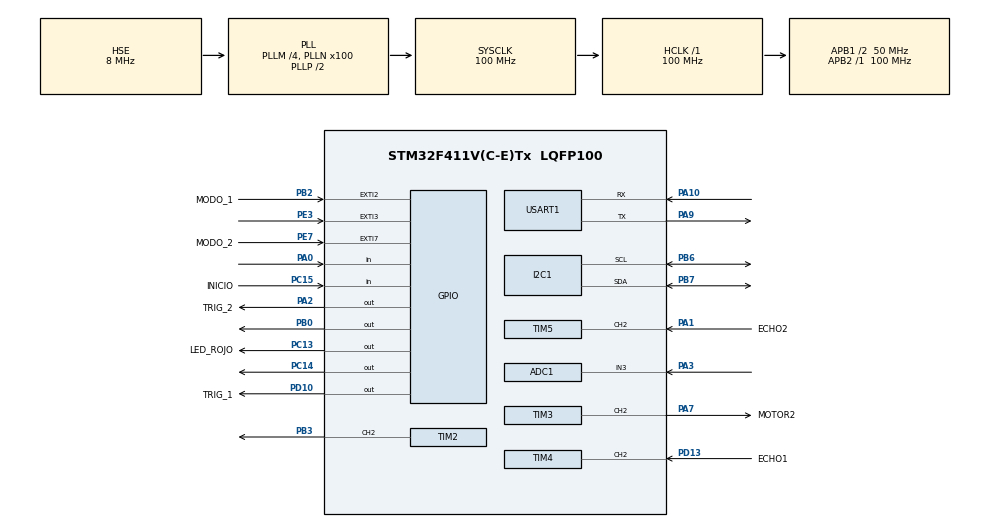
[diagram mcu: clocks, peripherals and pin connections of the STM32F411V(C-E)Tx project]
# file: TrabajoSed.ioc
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ADC1.Channel-2\#ChannelRegularConversion=ADC_CHANNEL_3
ADC1.ContinuousConvMode=ENABLE
ADC1.DMAContinuousRequests=ENABLE
ADC1.DiscontinuousConvMode=DISABLE
ADC1.NbrOfConversion=1
ADC1.NbrOfConversionFlag=1
ADC1.Rank-2\#ChannelRegularConversion=1
ADC1.SamplingTime-2\#ChannelRegularConversion=ADC_SAMPLETIME_3CYCLES
ADC1.master=1
Dma.ADC1.0.Direction=DMA_PERIPH_TO_MEMORY
Dma.ADC1.0.FIFOMode=DMA_FIFOMODE_DISABLE
Dma.ADC1.0.Instance=DMA2_Stream0
Dma.ADC1.0.MemDataAlignment=DMA_MDATAALIGN_WORD
Dma.ADC1.0.MemInc=DMA_MINC_ENABLE
Dma.ADC1.0.Mode=DMA_CIRCULAR
Dma.ADC1.0.PeriphDataAlignment=DMA_PDATAALIGN_WORD
Dma.ADC1.0.PeriphInc=DMA_PINC_DISABLE
Dma.ADC1.0.Priority=DMA_PRIORITY_LOW
Dma.Request0=ADC1
Mcu.Family=STM32F4
Mcu.Name=STM32F411V(C-E)Tx
Mcu.Package=LQFP100
NVIC.DMA2_Stream0_IRQn=true\:0\:0\:false\:false\:true\:false\:true\:true
NVIC.EXTI2_IRQn=true\:0\:0\:false\:false\:true\:true\:true\:true
NVIC.EXTI3_IRQn=true\:0\:0\:false\:false\:true\:true\:true\:true
NVIC.EXTI9_5_IRQn=true\:0\:0\:false\:false\:true\:true\:true\:true
NVIC.PriorityGroup=NVIC_PRIORITYGROUP_0
NVIC.TIM4_IRQn=true\:0\:0\:false\:false\:true\:true\:true\:true
NVIC.TIM5_IRQn=true\:0\:0\:false\:false\:true\:true\:true\:true
PA0-WKUP.GPIO_PuPd=GPIO_PULLUP
PA0-WKUP.Signal=GPIO_Input
PA1.GPIO_Label=ECHO2
PA1.Signal=S_TIM5_CH2
PA10.Mode=Asynchronous
PA10.Signal=USART1_RX
PA13.Mode=Serial_Wire
PA13.Signal=SYS_JTMS-SWDIO
PA14.Mode=Serial_Wire
PA14.Signal=SYS_JTCK-SWCLK
PA2.GPIO_Label=TRIG_2
PA2.Signal=GPIO_Output
PA3.Signal=ADCx_IN3
PA7.GPIO_Label=MOTOR2
PA7.Signal=S_TIM3_CH2
PA9.Mode=Asynchronous
PA9.Signal=USART1_TX
PB0.Signal=GPIO_Output
PB2.GPIO_Label=MODO_1
PB2.GPIO_PuPd=GPIO_PULLUP
PB2.Signal=GPXTI2
PB3.Signal=S_TIM2_CH2
PB6.Mode=I2C
PB6.Signal=I2C1_SCL
PB7.Mode=I2C
PB7.Signal=I2C1_SDA
PC13-ANTI_TAMP.GPIO_Label=LED_ROJO
PC13-ANTI_TAMP.Signal=GPIO_Output
PC14-OSC32_IN.Signal=GPIO_Output
PC15-OSC32_OUT.GPIO_Label=INICIO
PC15-OSC32_OUT.GPIO_PuPd=GPIO_PULLUP
PC15-OSC32_OUT.Signal=GPIO_Input
PD10.GPIO_Label=TRIG_1
PD10.Signal=GPIO_Output
PD13.GPIO_Label=ECHO1
PD13.Signal=S_TIM4_CH2
PE3.GPIO_ModeDefaultEXTI=GPIO_MODE_IT_RISING
PE3.GPIO_PuPd=GPIO_PULLUP
PE3.Signal=GPXTI3
PE7.GPIO_Label=MODO_2
PE7.GPIO_PuPd=GPIO_PULLUP
PE7.Signal=GPXTI7
PH0\ -\ OSC_IN.Mode=HSE-External-Oscillator
PH0\ -\ OSC_IN.Signal=RCC_OSC_IN
PH1\ -\ OSC_OUT.Mode=HSE-External-Oscillator
PH1\ -\ OSC_OUT.Signal=RCC_OSC_OUT
ProjectManager.HeapSize=0x200
ProjectManager.StackSize=0x400
ProjectManager.TargetToolchain=STM32CubeIDE
RCC.48MHZClocksFreq_Value=25000000
RCC.AHBFreq_Value=100000000
RCC.APB1CLKDivider=RCC_HCLK_DIV2
RCC.APB1Freq_Value=50000000
RCC.APB1TimFreq_Value=100000000
RCC.APB2Freq_Value=100000000
RCC.APB2TimFreq_Value=100000000
RCC.CortexFreq_Value=100000000
RCC.HCLKFreq_Value=100000000
RCC.HSE_VALUE=8000000
RCC.HSI_VALUE=16000000
RCC.LSE_VALUE=32768
RCC.PLLI2SM=5
RCC.PLLI2SN=200
RCC.PLLM=4
RCC.PLLN=100
RCC.PLLQ=8
RCC.PLLSourceVirtual=RCC_PLLSOURCE_HSE
RCC.SYSCLKFreq_VALUE=100000000
RCC.SYSCLKSource=RCC_SYSCLKSOURCE_PLLCLK
RCC.VCOOutputFreq_Value=200000000
SH.ADCx_IN3.0=ADC1_IN3,IN3
SH.S_TIM2_CH2.0=TIM2_CH2,PWM Generation2 CH2
SH.S_TIM3_CH2.0=TIM3_CH2,PWM Generation2 CH2
SH.S_TIM4_CH2.0=TIM4_CH2,Input_Capture2_from_TI2
SH.S_TIM5_CH2.0=TIM5_CH2,Input_Capture2_from_TI2
TIM2.Channel-PWM\ Generation2\ CH2=TIM_CHANNEL_2
TIM2.Period=10000-1
TIM2.Prescaler=100-1
TIM3.Channel-PWM\ Generation2\ CH2=TIM_CHANNEL_2
TIM3.Period=10000-1
TIM3.Prescaler=100-1
TIM4.Channel-Input_Capture2_from_TI2=TIM_CHANNEL_2
TIM4.ICFilter_CH2=4
TIM4.Prescaler=100-1
TIM5.Channel-Input_Capture2_from_TI2=TIM_CHANNEL_2
TIM5.ICFilter_CH2=4
TIM5.Period=65535
TIM5.Prescaler=100-1
USART1.VirtualMode=VM_ASYNC
VP_TIM2_VS_ClockSourceINT.Mode=Internal
VP_TIM3_VS_ClockSourceINT.Mode=Internal
VP_TIM4_VS_ClockSourceINT.Mode=Internal
VP_TIM5_VS_ClockSourceINT.Mode=Internal
board=STM32F411E-DISCO

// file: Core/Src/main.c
/* USER CODE BEGIN Header */
/**
  ******************************************************************************
  * @file           : main.c
  * @brief          : Main program body
  ******************************************************************************
  * @attention
  *
  * Copyright (c) 2025 STMicroelectronics.
  * All rights reserved.
  *
  * This software is licensed under terms that can be found in the LICENSE file
  * in the root directory of this software component.
  * If no LICENSE file comes with this software, it is provided AS-IS.
  *
  ******************************************************************************
  */
/* USER CODE END Header */
#include "main.h"

/* USER CODE BEGIN Includes */
typedef enum {
    WAITING_BUTTON,
	lavando,
    MOVING_MOTOR_2,
	EMERGENCY  // Nuevo estado
} SystemState;
/* USER CODE END PTD */
volatile SystemState currentState = WAITING_BUTTON;

#include "i2c-lcd.h"
#include "DHT.h"
/* USER CODE END Includes */

/* USER CODE BEGIN PD */
// Definiciones de pines
#define BUTTON_PIN GPIO_PIN_15
#define BUTTON_PORT GPIOC

#define EMERGENCY_BUTTON_PIN GPIO_PIN_3  // Botón de emergencia en PC15
#define EMERGENCY_PORT GPIOE             // Puerto del botón de emergencia

#define USER_BUTTON_PIN GPIO_PIN_0       // Botón de usuario (rearme) en PA0
#define USER_BUTTON_PORT GPIOA          // Puerto del botón de usuario

#define LED_RED_PIN GPIO_PIN_13
#define LED_GREEN_PIN GPIO_PIN_14
#define LED_PORT GPIOC

#define MOTOR1_PIN GPIO_PIN_3
#define MOTOR2_PIN GPIO_PIN_7
#define MOTOR1_PORT GPIOB
#define MOTOR2_PORT GPIOA

#define ECHO2_PIN GPIO_PIN_1
#define TRIG2_PIN GPIO_PIN_2
#define ECHO_PIN GPIO_PIN_13
#define TRIG_PIN GPIO_PIN_10
#define ULTRASONIC_PORT GPIOD
#define ULTRASONIC_PORT2 GPIOA

#define MODE_BUTTON_PIN GPIO_PIN_2      // Botón para seleccionar el modo
#define MODE_BUTTON_PORT GPIOB

#define MODE2_BUTTON_PIN GPIO_PIN_7     // Botón para seleccionar el modo
#define MODE2_BUTTON_PORT GPIOE

#define POTENTIOMETER_PIN GPIO_PIN_3    // Potenciómetro conectado al ADC1
#define POTENTIOMETER_PORT GPIOA

#define TEMP_MIN 40.0f
#define TEMP_MAX 60.0f
/* USER CODE END PD */

/* USER CODE BEGIN PM */
uint32_t previousTime = 0;
uint32_t interval = 500;  // Intervalo de parpadeo en milisegundos
volatile uint8_t emergencyFlag = 0;
volatile uint8_t selectedMode = 0;      // 1: Económico, 2: Ajuste de temperatura
float currentTemperature = 0.0f;       // Temperatura ajustada en modo 2
float selectedTemperature = 0.0;
int isTemperatureSet = 0;  // Bandera para indicar si la temperatura está fijad

int modo = 0;
/* USER CODE END PM */

ADC_HandleTypeDef hadc1;
DMA_HandleTypeDef hdma_adc1;

I2C_HandleTypeDef hi2c1;

TIM_HandleTypeDef htim2;
TIM_HandleTypeDef htim3;
TIM_HandleTypeDef htim4;
TIM_HandleTypeDef htim5;

UART_HandleTypeDef huart1;

/* USER CODE BEGIN PV */
DHT_DataTypedef DHT22_Data; //Estructura que guarda la temeperatura y la humedad
float Humidity; //Variable para guardar la humedad
float Temperature; //Variable para guardar la temperatura

/* USER CODE END PV */

void SystemClock_Config(void);
static void MX_GPIO_Init(void);
static void MX_DMA_Init(void);
static void MX_TIM2_Init(void);
static void MX_TIM3_Init(void);
static void MX_TIM4_Init(void);
static void MX_TIM5_Init(void);
static void MX_I2C1_Init(void);
static void MX_USART1_UART_Init(void);
static void MX_ADC1_Init(void);
/* USER CODE BEGIN PFP */
void delayMicroseconds(uint16_t microseconds);

void delayMicroseconds(uint16_t microseconds) {
    __HAL_TIM_SET_COUNTER(&htim4, 0); // Reinicia el contador
    while (__HAL_TIM_GET_COUNTER(&htim4) < microseconds); // Espera
}

/* USER CODE END 0 */

// Interrupción GPIO
void HAL_GPIO_EXTI_Callback(uint16_t GPIO_Pin) {
    if (GPIO_Pin == EMERGENCY_BUTTON_PIN) {
        emergencyFlag = 1; // Activar la bandera de emergencia
    }
    else{
    	if (GPIO_Pin == MODE_BUTTON_PIN){
    		modo =1;
    	}
    	else if (GPIO_Pin == MODE2_BUTTON_PIN){
    		modo =2;
    	}
    }
}
float convertirTemperatura(uint32_t lecturaADC, float Tmin, float Tmax) {
    return Tmin + ((float)lecturaADC / 4095.0f) * (Tmax - Tmin);
}
float readTemperature(void) {
    uint32_t adcValue = 0;

    // Leer el ADC (potenciómetro)
    HAL_ADC_Start(&hadc1);
    if (HAL_ADC_PollForConversion(&hadc1, HAL_MAX_DELAY) == HAL_OK) {
        adcValue = HAL_ADC_GetValue(&hadc1);
    }
    HAL_ADC_Stop(&hadc1);

    // Convertir a temperatura (30°C a 60°C)
    return convertirTemperatura(adcValue, 30.0f, 60.0f);
}

float readUltrasonicDistance1(void) {
    // Emitir pulso TRIG
	    uint32_t startTime = 0, endTime = 0;
	    HAL_TIM_Base_Start(&htim4);
	    // Genera el pulso TRIG (10µs)
	    HAL_GPIO_WritePin(ULTRASONIC_PORT, TRIG_PIN, GPIO_PIN_SET);
	    delayMicroseconds(10);
	    HAL_GPIO_WritePin(ULTRASONIC_PORT, TRIG_PIN, GPIO_PIN_RESET);

	    // Espera el inicio del pulso ECHO
	    while (HAL_GPIO_ReadPin(ULTRASONIC_PORT, ECHO_PIN) == GPIO_PIN_RESET);

	    startTime = __HAL_TIM_GET_COUNTER(&htim4); // Marca el tiempo inicial

	    // Espera el final del pulso ECHO
	    while (HAL_GPIO_ReadPin(ULTRASONIC_PORT, ECHO_PIN) == GPIO_PIN_SET);

	    endTime = __HAL_TIM_GET_COUNTER(&htim4); // Marca el tiempo final

	    // Calcula la duración del pulso (en microsegundos)
	    uint32_t duration = endTime - startTime;

	    // Calcula la distancia en cm (velocidad del sonido: 34300 cm/s)
	    return (duration * 0.0343) / 2;
}
float readUltrasonicDistance2(void) {
    // Emitir pulso TRIG
	    uint32_t startTime = 0, endTime = 0;
	    HAL_TIM_Base_Start(&htim5);
	    // Genera el pulso TRIG (10µs)
	    HAL_GPIO_WritePin(ULTRASONIC_PORT2, TRIG2_PIN, GPIO_PIN_SET);
	    delayMicroseconds(10);
	    HAL_GPIO_WritePin(ULTRASONIC_PORT2, TRIG2_PIN, GPIO_PIN_RESET);

	    // Espera el inicio del pulso ECHO
	    while (HAL_GPIO_ReadPin(ULTRASONIC_PORT2, ECHO2_PIN) == GPIO_PIN_RESET);

	    startTime = __HAL_TIM_GET_COUNTER(&htim5); // Marca el tiempo inicial

	    // Espera el final del pulso ECHO
	    while (HAL_GPIO_ReadPin(ULTRASONIC_PORT2, ECHO2_PIN) == GPIO_PIN_SET);

	    endTime = __HAL_TIM_GET_COUNTER(&htim5); // Marca el tiempo final

	    // Calcula la duración del pulso (en microsegundos)
	    uint32_t duration = endTime - startTime;

	    // Calcula la distancia en cm (velocidad del sonido: 34300 cm/s)
	    return (duration * 0.0343) / 2;
}

void moveMotor1(void) {
	   __HAL_TIM_SET_COMPARE(&htim2, TIM_CHANNEL_2, 500);
	     HAL_Delay(5000);  // Tiempo para subir la barrera
	  __HAL_TIM_SET_COMPARE(&htim2, TIM_CHANNEL_2, 2000);
}

void moveMotor2(void) {
	   __HAL_TIM_SET_COMPARE(&htim3, TIM_CHANNEL_2, 500);
	     HAL_Delay(5000);  // Tiempo para subir la barrera
	  __HAL_TIM_SET_COMPARE(&htim3, TIM_CHANNEL_2, 2000);
}

void toggleLEDs(int presenceDetected) {
    if (presenceDetected) {
        HAL_GPIO_WritePin(LED_PORT, LED_RED_PIN, GPIO_PIN_SET); // Apagar LED rojo
        HAL_GPIO_WritePin(LED_PORT, LED_GREEN_PIN, GPIO_PIN_RESET); // Encender LED verde
    } else {
        HAL_GPIO_WritePin(LED_PORT, LED_RED_PIN, GPIO_PIN_RESET);   // Encender LED rojo
        HAL_GPIO_WritePin(LED_PORT, LED_GREEN_PIN, GPIO_PIN_SET); // Apagar LED verde
    }
}
void handleEmergency(void) {
    // Parpadeo de ambos LEDs (rojo y verde) en el estado de emergencia
	 lcd_clear();
	 lcd_put_cur(0,0);
     lcd_send_string("PAUSA DE");
     lcd_send_string("EMERGENCIA ");
	 while (1) {
	        // Parpadeo de los LED
	        HAL_GPIO_TogglePin(GPIOC, GPIO_PIN_14); // LED verde
	        HAL_GPIO_TogglePin(GPIOC, GPIO_PIN_13); // LED rojo
	        HAL_Delay(500);

	        // Verificar si el botón de rearme (PA0) fue presionado
	       if (HAL_GPIO_ReadPin(GPIOA, GPIO_PIN_0) == GPIO_PIN_RESET) {
	            currentState = WAITING_BUTTON;
	            emergencyFlag = 0; // Restablecer la bandera de emergencia
	           break; // Salir de la función de emergencia
	        }
	    }
}

void process() {
    toggleLEDs(1);

    float distance = 0.0;  // Para el ultrasonido 1
    float distance2 = 0.0; // Para el ultrasonido 2

    // Manejo de estados
    switch (currentState) {
        case WAITING_BUTTON:
        	lcd_clear();
        	lcd_put_cur(0,0);
        	lcd_send_string("PULSE PARA INICIO");
            // Verificar la bandera de emergencia
            if (emergencyFlag) return;

            distance = readUltrasonicDistance1();

            if (HAL_GPIO_ReadPin(GPIOC, GPIO_PIN_15) == GPIO_PIN_RESET) {
                if (distance > 10.0) {
                	lcd_clear();
                	lcd_put_cur(0,0);
                    lcd_send_string("SUBIENDO BARRERA");
                    HAL_TIM_PWM_Start(&htim2, TIM_CHANNEL_2); // Iniciar motor 2
                    moveMotor1();
                    currentState = lavando; // Cambiar al estado de lavado
                }
            }
            break;

        case lavando:
        	if (emergencyFlag) return;
        	lcd_clear();
        	lcd_put_cur(0,0);
        	lcd_send_string("Esperando Coche");
            distance = readUltrasonicDistance1();
            // Verificar la bandera de emergencia

            if (distance < 10.0) {
            	 lcd_clear();
            	 lcd_put_cur(0,0);
            	 lcd_send_string("<LAVANDO>");
                for (int i = 0; i < 5; i++) {
                    HAL_GPIO_WritePin(GPIOC, GPIO_PIN_14, GPIO_PIN_SET);
                    HAL_Delay(1000); // Simula tiempo de lavado
                    HAL_GPIO_WritePin(GPIOC, GPIO_PIN_14, GPIO_PIN_RESET);
                    HAL_Delay(1000);
                    // Verificar la bandera de emergencia en cada iteración
                    if (emergencyFlag) return;
                }
                lcd_send_string("<FIN DEL LAVADO >");
                currentState = MOVING_MOTOR_2; // Cambiar al estado de mover motor 2
            }
            break;

        case MOVING_MOTOR_2:
            // Verificar la bandera de emergencia
            if (emergencyFlag) return;

            distance2 = readUltrasonicDistance2();
            if (distance2 < 7.0) {
            	lcd_clear();
            	lcd_put_cur(0,0);
                lcd_send_string("<BAJANDO BARRERA ⬇️>");
                HAL_TIM_PWM_Start(&htim3, TIM_CHANNEL_2); // Iniciar motor 2
                moveMotor2();                             // Mover motor 2
                toggleLEDs(1);                            // Encender LED rojo
                currentState = WAITING_BUTTON;            // Volver al estado inicial
            }
            break;

        default:
            currentState = WAITING_BUTTON; // Reiniciar estado por seguridad
            break;
    }
}
void process2() {
    toggleLEDs(1);

    float distance = 0.0;  // Para el ultrasonido 1
    float distance2 = 0.0; // Para el ultrasonido 2

    // Manejo de estados
    switch (currentState) {
        case WAITING_BUTTON:
        	lcd_clear();
        	lcd_put_cur(0,0);
        	lcd_send_string("PULSE PARA INICIO");
            // Verificar la bandera de emergencia
            if (emergencyFlag) return;

            distance = readUltrasonicDistance1();

            if (HAL_GPIO_ReadPin(GPIOC, GPIO_PIN_15) == GPIO_PIN_RESET) {
                if (distance > 10.0) {
                	lcd_clear();
                	lcd_put_cur(0,0);
                    lcd_send_string("SUBIENDO BARRERA");
                    HAL_TIM_PWM_Start(&htim2, TIM_CHANNEL_2); // Iniciar motor 2
                    moveMotor1();
                    currentState = lavando; // Cambiar al estado de lavado
                }
            }
            break;

        case lavando:
            // Verificar la bandera de emergencia
            if (emergencyFlag) return;
            if (distance < 10.0) {
            	 lcd_clear();
            	 lcd_put_cur(0,0);
            	 lcd_send_string("<LAVANDO>");
                for (int i = 0; i < 5; i++) {
                    HAL_GPIO_WritePin(GPIOC, GPIO_PIN_14, GPIO_PIN_SET);
                    HAL_Delay(1000); // Simula tiempo de lavado
                    HAL_GPIO_WritePin(GPIOC, GPIO_PIN_14, GPIO_PIN_RESET);
                    HAL_Delay(1000);
                    // Verificar la bandera de emergencia en cada iteración
                    if (emergencyFlag) return;
                }
                lcd_send_string("<FIN DEL LAVADO >");
                currentState = MOVING_MOTOR_2; // Cambiar al estado de mover motor 2
            }
            break;

        case MOVING_MOTOR_2:
            // Verificar la bandera de emergencia
            if (emergencyFlag) return;

            distance2 = readUltrasonicDistance2();
            if (distance2 < 7.0) {
            	lcd_clear();
            	lcd_put_cur(0,0);
                lcd_send_string("<BAJANDO BARRERA ⬇️>");
                HAL_TIM_PWM_Start(&htim3, TIM_CHANNEL_2); // Iniciar motor 2
                moveMotor2();                             // Mover motor 2
                toggleLEDs(1);                            // Encender LED rojo
                currentState = WAITING_BUTTON;            // Volver al estado inicial
            }
            break;

        default:
            currentState = WAITING_BUTTON; // Reiniciar estado por seguridad
            break;
    }
}
int seleccionaTemp(void) {
    lcd_clear();
    lcd_put_cur(0, 0);
    lcd_send_string("SELEC. TEMP:");
    HAL_Delay(2000);
while(1){
        // Leer el valor del potenciómetro y convertirlo a temperatura
        currentTemperature = readTemperature();

        // Mostrar la temperatura en la pantalla LCD
        lcd_clear();
        lcd_put_cur(1,0);
        lcd_send_string("TEMP. SELEC:");
        lcd_put_cur(0, 0);
        Display_Temp(currentTemperature*10 , 0);

        // Verificar si se presionó el botón de inicio para confirmar la selección
        if (HAL_GPIO_ReadPin(GPIOC, GPIO_PIN_15) == GPIO_PIN_RESET) {
            selectedTemperature = currentTemperature; // Guardar la temperatura seleccionada
            isTemperatureSet = 1; // Marcar que la temperatura ha sido fijada
            HAL_Delay(500); // Pequeño debounce

            // Mensaje de confirmación
            lcd_clear();
            lcd_put_cur(0, 0);
            lcd_send_string("TEMP. FIJADA:");
            lcd_put_cur(1, 0);
            HAL_Delay(2000);
            Display_Temp(currentTemperature*10 , 0);
            HAL_Delay(2000);
            return isTemperatureSet;
            break;

            // Pasar al proceso principal
        }

        HAL_Delay(500); // Actualización cada 500ms

}
}

/* USER CODE END PFP */

int main(void)
{

  /* MCU Configuration--------------------------------------------------------*/

  /* Reset of all peripherals, Initializes the Flash interface and the Systick. */
  HAL_Init();

  /* Configure the system clock */
  SystemClock_Config();

  /* Initialize all configured peripherals */
  MX_GPIO_Init();
  MX_DMA_Init();
  MX_TIM2_Init();
  MX_TIM3_Init();
  MX_TIM4_Init();
  MX_TIM5_Init();
  MX_I2C1_Init();
  MX_USART1_UART_Init();
  MX_ADC1_Init();
  /* USER CODE BEGIN 2 */
  lcd_init();
  lcd_clear();
  lcd_put_cur(0,0);
  lcd_send_string("<<<<INICIANDO>>>>");
  HAL_Delay(2000);
  lcd_clear();
  /* USER CODE END 2 */
  seleccionaTemp();
  /* Infinite loop */
  /* USER CODE BEGIN WHILE */
  while (1) {

	  if (emergencyFlag) {
	              handleEmergency(); // Llamar a la función de emergencia
	          } else {

	         	if (modo==1){
	         		process(); //Ejecutar el proceso principal /// INTERFAZ
	         	}
	         	else if(modo==2){

	         	if (isTemperatureSet==1){
	         		process();
	         	}

	         	}

	         	}
	          }
}

    /* USER CODE END WHILE */

void SystemClock_Config(void)
{
  RCC_OscInitTypeDef RCC_OscInitStruct = {0};
  RCC_ClkInitTypeDef RCC_ClkInitStruct = {0};

  /** Configure the main internal regulator output voltage
  */
  __HAL_RCC_PWR_CLK_ENABLE();
  __HAL_PWR_VOLTAGESCALING_CONFIG(PWR_REGULATOR_VOLTAGE_SCALE1);

  /** Initializes the RCC Oscillators according to the specified parameters
  * in the RCC_OscInitTypeDef structure.
  */
  RCC_OscInitStruct.OscillatorType = RCC_OSCILLATORTYPE_HSE;
  RCC_OscInitStruct.HSEState = RCC_HSE_ON;
  RCC_OscInitStruct.PLL.PLLState = RCC_PLL_ON;
  RCC_OscInitStruct.PLL.PLLSource = RCC_PLLSOURCE_HSE;
  RCC_OscInitStruct.PLL.PLLM = 4;
  RCC_OscInitStruct.PLL.PLLN = 100;
  RCC_OscInitStruct.PLL.PLLP = RCC_PLLP_DIV2;
  RCC_OscInitStruct.PLL.PLLQ = 8;
  if (HAL_RCC_OscConfig(&RCC_OscInitStruct) != HAL_OK)
  {
    Error_Handler();
  }

  /** Initializes the CPU, AHB and APB buses clocks
  */
  RCC_ClkInitStruct.ClockType = RCC_CLOCKTYPE_HCLK|RCC_CLOCKTYPE_SYSCLK
                              |RCC_CLOCKTYPE_PCLK1|RCC_CLOCKTYPE_PCLK2;
  RCC_ClkInitStruct.SYSCLKSource = RCC_SYSCLKSOURCE_PLLCLK;
  RCC_ClkInitStruct.AHBCLKDivider = RCC_SYSCLK_DIV1;
  RCC_ClkInitStruct.APB1CLKDivider = RCC_HCLK_DIV2;
  RCC_ClkInitStruct.APB2CLKDivider = RCC_HCLK_DIV1;

  if (HAL_RCC_ClockConfig(&RCC_ClkInitStruct, FLASH_LATENCY_3) != HAL_OK)
  {
    Error_Handler();
  }
}

static void MX_ADC1_Init(void)
{

  ADC_ChannelConfTypeDef sConfig = {0};

  /** Configure the global features of the ADC (Clock, Resolution, Data Alignment and number of conversion)
  */
  hadc1.Instance = ADC1;
  hadc1.Init.ClockPrescaler = ADC_CLOCK_SYNC_PCLK_DIV4;
  hadc1.Init.Resolution = ADC_RESOLUTION_12B;
  hadc1.Init.ScanConvMode = DISABLE;
  hadc1.Init.ContinuousConvMode = ENABLE;
  hadc1.Init.DiscontinuousConvMode = DISABLE;
  hadc1.Init.ExternalTrigConvEdge = ADC_EXTERNALTRIGCONVEDGE_NONE;
  hadc1.Init.ExternalTrigConv = ADC_SOFTWARE_START;
  hadc1.Init.DataAlign = ADC_DATAALIGN_RIGHT;
  hadc1.Init.NbrOfConversion = 1;
  hadc1.Init.DMAContinuousRequests = ENABLE;
  hadc1.Init.EOCSelection = ADC_EOC_SINGLE_CONV;
  if (HAL_ADC_Init(&hadc1) != HAL_OK)
  {
    Error_Handler();
  }

  /** Configure for the selected ADC regular channel its corresponding rank in the sequencer and its sample time.
  */
  sConfig.Channel = ADC_CHANNEL_3;
  sConfig.Rank = 1;
  sConfig.SamplingTime = ADC_SAMPLETIME_3CYCLES;
  if (HAL_ADC_ConfigChannel(&hadc1, &sConfig) != HAL_OK)
  {
    Error_Handler();
  }

}

static void MX_I2C1_Init(void)
{

  hi2c1.Instance = I2C1;
  hi2c1.Init.ClockSpeed = 100000;
  hi2c1.Init.DutyCycle = I2C_DUTYCYCLE_2;
  hi2c1.Init.OwnAddress1 = 0;
  hi2c1.Init.AddressingMode = I2C_ADDRESSINGMODE_7BIT;
  hi2c1.Init.DualAddressMode = I2C_DUALADDRESS_DISABLE;
  hi2c1.Init.OwnAddress2 = 0;
  hi2c1.Init.GeneralCallMode = I2C_GENERALCALL_DISABLE;
  hi2c1.Init.NoStretchMode = I2C_NOSTRETCH_DISABLE;
  if (HAL_I2C_Init(&hi2c1) != HAL_OK)
  {
    Error_Handler();
  }

}

static void MX_TIM2_Init(void)
{

  TIM_ClockConfigTypeDef sClockSourceConfig = {0};
  TIM_MasterConfigTypeDef sMasterConfig = {0};
  TIM_OC_InitTypeDef sConfigOC = {0};

  htim2.Instance = TIM2;
  htim2.Init.Prescaler = 100-1;
  htim2.Init.CounterMode = TIM_COUNTERMODE_UP;
  htim2.Init.Period = 10000-1;
  htim2.Init.ClockDivision = TIM_CLOCKDIVISION_DIV1;
  htim2.Init.AutoReloadPreload = TIM_AUTORELOAD_PRELOAD_DISABLE;
  if (HAL_TIM_Base_Init(&htim2) != HAL_OK)
  {
    Error_Handler();
  }
  sClockSourceConfig.ClockSource = TIM_CLOCKSOURCE_INTERNAL;
  if (HAL_TIM_ConfigClockSource(&htim2, &sClockSourceConfig) != HAL_OK)
  {
    Error_Handler();
  }
  if (HAL_TIM_PWM_Init(&htim2) != HAL_OK)
  {
    Error_Handler();
  }
  sMasterConfig.MasterOutputTrigger = TIM_TRGO_RESET;
  sMasterConfig.MasterSlaveMode = TIM_MASTERSLAVEMODE_DISABLE;
  if (HAL_TIMEx_MasterConfigSynchronization(&htim2, &sMasterConfig) != HAL_OK)
  {
    Error_Handler();
  }
  sConfigOC.OCMode = TIM_OCMODE_PWM1;
  sConfigOC.Pulse = 0;
  sConfigOC.OCPolarity = TIM_OCPOLARITY_HIGH;
  sConfigOC.OCFastMode = TIM_OCFAST_DISABLE;
  if (HAL_TIM_PWM_ConfigChannel(&htim2, &sConfigOC, TIM_CHANNEL_2) != HAL_OK)
  {
    Error_Handler();
  }
  HAL_TIM_MspPostInit(&htim2);

}

static void MX_TIM3_Init(void)
{

  TIM_ClockConfigTypeDef sClockSourceConfig = {0};
  TIM_MasterConfigTypeDef sMasterConfig = {0};
  TIM_OC_InitTypeDef sConfigOC = {0};

  htim3.Instance = TIM3;
  htim3.Init.Prescaler = 100-1;
  htim3.Init.CounterMode = TIM_COUNTERMODE_UP;
  htim3.Init.Period = 10000-1;
  htim3.Init.ClockDivision = TIM_CLOCKDIVISION_DIV1;
  htim3.Init.AutoReloadPreload = TIM_AUTORELOAD_PRELOAD_DISABLE;
  if (HAL_TIM_Base_Init(&htim3) != HAL_OK)
  {
    Error_Handler();
  }
  sClockSourceConfig.ClockSource = TIM_CLOCKSOURCE_INTERNAL;
  if (HAL_TIM_ConfigClockSource(&htim3, &sClockSourceConfig) != HAL_OK)
  {
    Error_Handler();
  }
  if (HAL_TIM_PWM_Init(&htim3) != HAL_OK)
  {
    Error_Handler();
  }
  sMasterConfig.MasterOutputTrigger = TIM_TRGO_RESET;
  sMasterConfig.MasterSlaveMode = TIM_MASTERSLAVEMODE_DISABLE;
  if (HAL_TIMEx_MasterConfigSynchronization(&htim3, &sMasterConfig) != HAL_OK)
  {
    Error_Handler();
  }
  sConfigOC.OCMode = TIM_OCMODE_PWM1;
  sConfigOC.Pulse = 0;
  sConfigOC.OCPolarity = TIM_OCPOLARITY_HIGH;
  sConfigOC.OCFastMode = TIM_OCFAST_DISABLE;
  if (HAL_TIM_PWM_ConfigChannel(&htim3, &sConfigOC, TIM_CHANNEL_2) != HAL_OK)
  {
    Error_Handler();
  }
  HAL_TIM_MspPostInit(&htim3);

}

static void MX_TIM4_Init(void)
{

  TIM_ClockConfigTypeDef sClockSourceConfig = {0};
  TIM_MasterConfigTypeDef sMasterConfig = {0};
  TIM_IC_InitTypeDef sConfigIC = {0};

  htim4.Instance = TIM4;
  htim4.Init.Prescaler = 100-1;
  htim4.Init.CounterMode = TIM_COUNTERMODE_UP;
  htim4.Init.Period = 65535;
  htim4.Init.ClockDivision = TIM_CLOCKDIVISION_DIV1;
  htim4.Init.AutoReloadPreload = TIM_AUTORELOAD_PRELOAD_DISABLE;
  if (HAL_TIM_Base_Init(&htim4) != HAL_OK)
  {
    Error_Handler();
  }
  sClockSourceConfig.ClockSource = TIM_CLOCKSOURCE_INTERNAL;
  if (HAL_TIM_ConfigClockSource(&htim4, &sClockSourceConfig) != HAL_OK)
  {
    Error_Handler();
  }
  if (HAL_TIM_IC_Init(&htim4) != HAL_OK)
  {
    Error_Handler();
  }
  sMasterConfig.MasterOutputTrigger = TIM_TRGO_RESET;
  sMasterConfig.MasterSlaveMode = TIM_MASTERSLAVEMODE_DISABLE;
  if (HAL_TIMEx_MasterConfigSynchronization(&htim4, &sMasterConfig) != HAL_OK)
  {
    Error_Handler();
  }
  sConfigIC.ICPolarity = TIM_INPUTCHANNELPOLARITY_RISING;
  sConfigIC.ICSelection = TIM_ICSELECTION_DIRECTTI;
  sConfigIC.ICPrescaler = TIM_ICPSC_DIV1;
  sConfigIC.ICFilter = 4;
  if (HAL_TIM_IC_ConfigChannel(&htim4, &sConfigIC, TIM_CHANNEL_2) != HAL_OK)
  {
    Error_Handler();
  }

}

static void MX_TIM5_Init(void)
{

  TIM_ClockConfigTypeDef sClockSourceConfig = {0};
  TIM_MasterConfigTypeDef sMasterConfig = {0};
  TIM_IC_InitTypeDef sConfigIC = {0};

  htim5.Instance = TIM5;
  htim5.Init.Prescaler = 100-1;
  htim5.Init.CounterMode = TIM_COUNTERMODE_UP;
  htim5.Init.Period = 65535;
  htim5.Init.ClockDivision = TIM_CLOCKDIVISION_DIV1;
  htim5.Init.AutoReloadPreload = TIM_AUTORELOAD_PRELOAD_DISABLE;
  if (HAL_TIM_Base_Init(&htim5) != HAL_OK)
  {
    Error_Handler();
  }
  sClockSourceConfig.ClockSource = TIM_CLOCKSOURCE_INTERNAL;
  if (HAL_TIM_ConfigClockSource(&htim5, &sClockSourceConfig) != HAL_OK)
  {
    Error_Handler();
  }
  if (HAL_TIM_IC_Init(&htim5) != HAL_OK)
  {
    Error_Handler();
  }
  sMasterConfig.MasterOutputTrigger = TIM_TRGO_RESET;
  sMasterConfig.MasterSlaveMode = TIM_MASTERSLAVEMODE_DISABLE;
  if (HAL_TIMEx_MasterConfigSynchronization(&htim5, &sMasterConfig) != HAL_OK)
  {
    Error_Handler();
  }
  sConfigIC.ICPolarity = TIM_INPUTCHANNELPOLARITY_RISING;
  sConfigIC.ICSelection = TIM_ICSELECTION_DIRECTTI;
  sConfigIC.ICPrescaler = TIM_ICPSC_DIV1;
  sConfigIC.ICFilter = 4;
  if (HAL_TIM_IC_ConfigChannel(&htim5, &sConfigIC, TIM_CHANNEL_2) != HAL_OK)
  {
    Error_Handler();
  }

}

static void MX_USART1_UART_Init(void)
{

  huart1.Instance = USART1;
  huart1.Init.BaudRate = 115200;
  huart1.Init.WordLength = UART_WORDLENGTH_8B;
  huart1.Init.StopBits = UART_STOPBITS_1;
  huart1.Init.Parity = UART_PARITY_NONE;
  huart1.Init.Mode = UART_MODE_TX_RX;
  huart1.Init.HwFlowCtl = UART_HWCONTROL_NONE;
  huart1.Init.OverSampling = UART_OVERSAMPLING_16;
  if (HAL_UART_Init(&huart1) != HAL_OK)
  {
    Error_Handler();
  }

}

static void MX_DMA_Init(void)
{

  /* DMA controller clock enable */
  __HAL_RCC_DMA2_CLK_ENABLE();

  /* DMA interrupt init */
  /* DMA2_Stream0_IRQn interrupt configuration */
  HAL_NVIC_SetPriority(DMA2_Stream0_IRQn, 0, 0);
  HAL_NVIC_EnableIRQ(DMA2_Stream0_IRQn);

}

static void MX_GPIO_Init(void)
{
  GPIO_InitTypeDef GPIO_InitStruct = {0};

  /* GPIO Ports Clock Enable */
  __HAL_RCC_GPIOE_CLK_ENABLE();
  __HAL_RCC_GPIOC_CLK_ENABLE();
  __HAL_RCC_GPIOH_CLK_ENABLE();
  __HAL_RCC_GPIOA_CLK_ENABLE();
  __HAL_RCC_GPIOB_CLK_ENABLE();
  __HAL_RCC_GPIOD_CLK_ENABLE();

  /*Configure GPIO pin Output Level */
  HAL_GPIO_WritePin(GPIOC, LED_ROJO_Pin|GPIO_PIN_14, GPIO_PIN_RESET);

  /*Configure GPIO pin Output Level */
  HAL_GPIO_WritePin(TRIG_2_GPIO_Port, TRIG_2_Pin, GPIO_PIN_RESET);

  /*Configure GPIO pin Output Level */
  HAL_GPIO_WritePin(GPIOB, GPIO_PIN_0, GPIO_PIN_RESET);

  /*Configure GPIO pin Output Level */
  HAL_GPIO_WritePin(TRIG_1_GPIO_Port, TRIG_1_Pin, GPIO_PIN_RESET);

  /*Configure GPIO pins : PE3 MODO_2_Pin */
  GPIO_InitStruct.Pin = GPIO_PIN_3|MODO_2_Pin;
  GPIO_InitStruct.Mode = GPIO_MODE_IT_RISING;
  GPIO_InitStruct.Pull = GPIO_PULLUP;
  HAL_GPIO_Init(GPIOE, &GPIO_InitStruct);

  /*Configure GPIO pins : LED_ROJO_Pin PC14 */
  GPIO_InitStruct.Pin = LED_ROJO_Pin|GPIO_PIN_14;
  GPIO_InitStruct.Mode = GPIO_MODE_OUTPUT_PP;
  GPIO_InitStruct.Pull = GPIO_NOPULL;
  GPIO_InitStruct.Speed = GPIO_SPEED_FREQ_LOW;
  HAL_GPIO_Init(GPIOC, &GPIO_InitStruct);

  /*Configure GPIO pin : INICIO_Pin */
  GPIO_InitStruct.Pin = INICIO_Pin;
  GPIO_InitStruct.Mode = GPIO_MODE_INPUT;
  GPIO_InitStruct.Pull = GPIO_PULLUP;
  HAL_GPIO_Init(INICIO_GPIO_Port, &GPIO_InitStruct);

  /*Configure GPIO pin : PA0 */
  GPIO_InitStruct.Pin = GPIO_PIN_0;
  GPIO_InitStruct.Mode = GPIO_MODE_INPUT;
  GPIO_InitStruct.Pull = GPIO_PULLUP;
  HAL_GPIO_Init(GPIOA, &GPIO_InitStruct);

  /*Configure GPIO pin : TRIG_2_Pin */
  GPIO_InitStruct.Pin = TRIG_2_Pin;
  GPIO_InitStruct.Mode = GPIO_MODE_OUTPUT_PP;
  GPIO_InitStruct.Pull = GPIO_NOPULL;
  GPIO_InitStruct.Speed = GPIO_SPEED_FREQ_LOW;
  HAL_GPIO_Init(TRIG_2_GPIO_Port, &GPIO_InitStruct);

  /*Configure GPIO pin : PB0 */
  GPIO_InitStruct.Pin = GPIO_PIN_0;
  GPIO_InitStruct.Mode = GPIO_MODE_OUTPUT_PP;
  GPIO_InitStruct.Pull = GPIO_NOPULL;
  GPIO_InitStruct.Speed = GPIO_SPEED_FREQ_LOW;
  HAL_GPIO_Init(GPIOB, &GPIO_InitStruct);

  /*Configure GPIO pin : MODO_1_Pin */
  GPIO_InitStruct.Pin = MODO_1_Pin;
  GPIO_InitStruct.Mode = GPIO_MODE_IT_RISING;
  GPIO_InitStruct.Pull = GPIO_PULLUP;
  HAL_GPIO_Init(MODO_1_GPIO_Port, &GPIO_InitStruct);

  /*Configure GPIO pin : TRIG_1_Pin */
  GPIO_InitStruct.Pin = TRIG_1_Pin;
  GPIO_InitStruct.Mode = GPIO_MODE_OUTPUT_PP;
  GPIO_InitStruct.Pull = GPIO_NOPULL;
  GPIO_InitStruct.Speed = GPIO_SPEED_FREQ_LOW;
  HAL_GPIO_Init(TRIG_1_GPIO_Port, &GPIO_InitStruct);

  /* EXTI interrupt init*/
  HAL_NVIC_SetPriority(EXTI2_IRQn, 0, 0);
  HAL_NVIC_EnableIRQ(EXTI2_IRQn);

  HAL_NVIC_SetPriority(EXTI3_IRQn, 0, 0);
  HAL_NVIC_EnableIRQ(EXTI3_IRQn);

  HAL_NVIC_SetPriority(EXTI9_5_IRQn, 0, 0);
  HAL_NVIC_EnableIRQ(EXTI9_5_IRQn);

}

void Error_Handler(void)
{
  __disable_irq();
  while (1)
  {
  }
}
